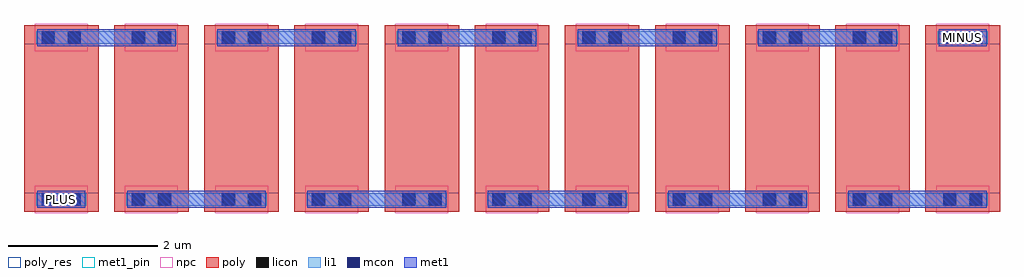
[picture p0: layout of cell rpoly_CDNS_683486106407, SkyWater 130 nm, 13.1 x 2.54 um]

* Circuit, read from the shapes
.subckt rpoly_CDNS_683486106407 MINUS PLUS
R1 n1 PLUS sky130_fd_pr__res_generic_po w=1 l=2
R2 n1 n2 sky130_fd_pr__res_generic_po w=1 l=2
R3 n3 n2 sky130_fd_pr__res_generic_po w=1 l=2
R4 n3 n4 sky130_fd_pr__res_generic_po w=1 l=2
R5 n5 n4 sky130_fd_pr__res_generic_po w=1 l=2
R6 n5 n6 sky130_fd_pr__res_generic_po w=1 l=2
R7 n7 n6 sky130_fd_pr__res_generic_po w=1 l=2
R8 n7 n8 sky130_fd_pr__res_generic_po w=1 l=2
R9 n9 n8 sky130_fd_pr__res_generic_po w=1 l=2
R10 n9 n10 sky130_fd_pr__res_generic_po w=1 l=2
R11 MINUS n10 sky130_fd_pr__res_generic_po w=1 l=2
.ends

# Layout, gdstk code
import gdstk
lib = gdstk.Library(unit=1e-6, precision=1e-09)
def R(c, l, rs):  # rectangles x0, y0, x1, y1
    for r in rs: c.add(gdstk.rectangle(r[:2], r[2:], *l))
def A(c, l, x, y, w, h, nx, ny, dx, dy):  # array of equal rectangles
    R(c, l, [(x+i*dx, y+j*dy, x+i*dx+w, y+j*dy+h) for i in range(nx) for j in range(ny)])
poly_res = (66, 13)
poly = (66, 20)
licon = (66, 44)
li1 = (67, 20)
mcon = (67, 44)
met1_pin = (68, 16)
met1 = (68, 20)
npc = (95, 20)

rpoly_cdns_683486106407 = lib.new_cell('rpoly_CDNS_683486106407')
A(rpoly_cdns_683486106407, poly_res, 0, 0, 1, 2, 11, 1, 1.21, 0)
A(rpoly_cdns_683486106407, poly, 0, -0.25, 1, 2.5, 11, 1, 1.21, 0)
R(rpoly_cdns_683486106407, licon, [(0.245,-0.17,0.415,0), (0.585,-0.17,0.755,0), (1.455,-0.17,1.625,0), (1.795,-0.17,1.965,0), (2.665,-0.17,2.835,0), (3.005,-0.17,3.175,0), (3.875,-0.17,4.045,0), (4.215,-0.17,4.385,0), (5.085,-0.17,5.255,0), (5.425,-0.17,5.595,0), (6.295,-0.17,6.465,0), (6.635,-0.17,6.805,0), (7.505,-0.17,7.675,0), (7.845,-0.17,8.015,0), (8.715,-0.17,8.885,0), (9.055,-0.17,9.225,0), (9.925,-0.17,10.095,0), (10.265,-0.17,10.435,0), (11.135,-0.17,11.305,0), (11.475,-0.17,11.645,0), (12.345,-0.17,12.515,0), (12.685,-0.17,12.855,0), (0.245,2,0.415,2.17), (0.585,2,0.755,2.17), (1.455,2,1.625,2.17), (1.795,2,1.965,2.17), (2.665,2,2.835,2.17), (3.005,2,3.175,2.17), (3.875,2,4.045,2.17), (4.215,2,4.385,2.17), (5.085,2,5.255,2.17), (5.425,2,5.595,2.17), (6.295,2,6.465,2.17), (6.635,2,6.805,2.17), (7.505,2,7.675,2.17), (7.845,2,8.015,2.17), (8.715,2,8.885,2.17), (9.055,2,9.225,2.17), (9.925,2,10.095,2.17), (10.265,2,10.435,2.17), (11.135,2,11.305,2.17), (11.475,2,11.645,2.17), (12.345,2,12.515,2.17), (12.685,2,12.855,2.17)])
A(rpoly_cdns_683486106407, li1, 1.375, -0.17, 1.88, 0.17, 5, 1, 2.42, 0)
A(rpoly_cdns_683486106407, li1, 0.165, 2, 1.88, 0.17, 5, 1, 2.42, 0)
R(rpoly_cdns_683486106407, li1, [(0.165,-0.17,0.835,0), (12.265,2,12.935,2.17)])
R(rpoly_cdns_683486106407, mcon, [(0.235,-0.17,0.405,0), (0.595,-0.17,0.765,0), (1.445,-0.17,1.615,0), (1.805,-0.17,1.975,0), (2.655,-0.17,2.825,0), (3.015,-0.17,3.185,0), (3.865,-0.17,4.035,0), (4.225,-0.17,4.395,0), (5.075,-0.17,5.245,0), (5.435,-0.17,5.605,0), (6.285,-0.17,6.455,0), (6.645,-0.17,6.815,0), (7.495,-0.17,7.665,0), (7.855,-0.17,8.025,0), (8.705,-0.17,8.875,0), (9.065,-0.17,9.235,0), (9.915,-0.17,10.085,0), (10.275,-0.17,10.445,0), (11.125,-0.17,11.295,0), (11.485,-0.17,11.655,0), (12.335,-0.17,12.505,0), (12.695,-0.17,12.865,0), (0.235,2,0.405,2.17), (0.595,2,0.765,2.17), (1.445,2,1.615,2.17), (1.805,2,1.975,2.17), (2.655,2,2.825,2.17), (3.015,2,3.185,2.17), (3.865,2,4.035,2.17), (4.225,2,4.395,2.17), (5.075,2,5.245,2.17), (5.435,2,5.605,2.17), (6.285,2,6.455,2.17), (6.645,2,6.815,2.17), (7.495,2,7.665,2.17), (7.855,2,8.025,2.17), (8.705,2,8.875,2.17), (9.065,2,9.235,2.17), (9.915,2,10.085,2.17), (10.275,2,10.445,2.17), (11.125,2,11.295,2.17), (11.485,2,11.655,2.17), (12.335,2,12.505,2.17), (12.695,2,12.865,2.17)])
R(rpoly_cdns_683486106407, met1_pin, [(0.175,-0.2,0.825,0.03), (12.275,1.97,12.925,2.2)])
A(rpoly_cdns_683486106407, met1, 1.385, -0.2, 1.86, 0.23, 5, 1, 2.42, 0)
A(rpoly_cdns_683486106407, met1, 0.175, 1.97, 1.86, 0.23, 5, 1, 2.42, 0)
R(rpoly_cdns_683486106407, met1, [(0.175,-0.2,0.825,0.03), (12.275,1.97,12.925,2.2)])
A(rpoly_cdns_683486106407, npc, 0.145, -0.27, 0.71, 0.37, 11, 2, 1.21, 2.17)
rpoly_cdns_683486106407.add(gdstk.Label('MINUS', (12.6,2.085), layer=68, texttype=5))
rpoly_cdns_683486106407.add(gdstk.Label('PLUS', (0.5,-0.085), layer=68, texttype=5))

lib.write_gds('rpoly_CDNS_683486106407.gds')
